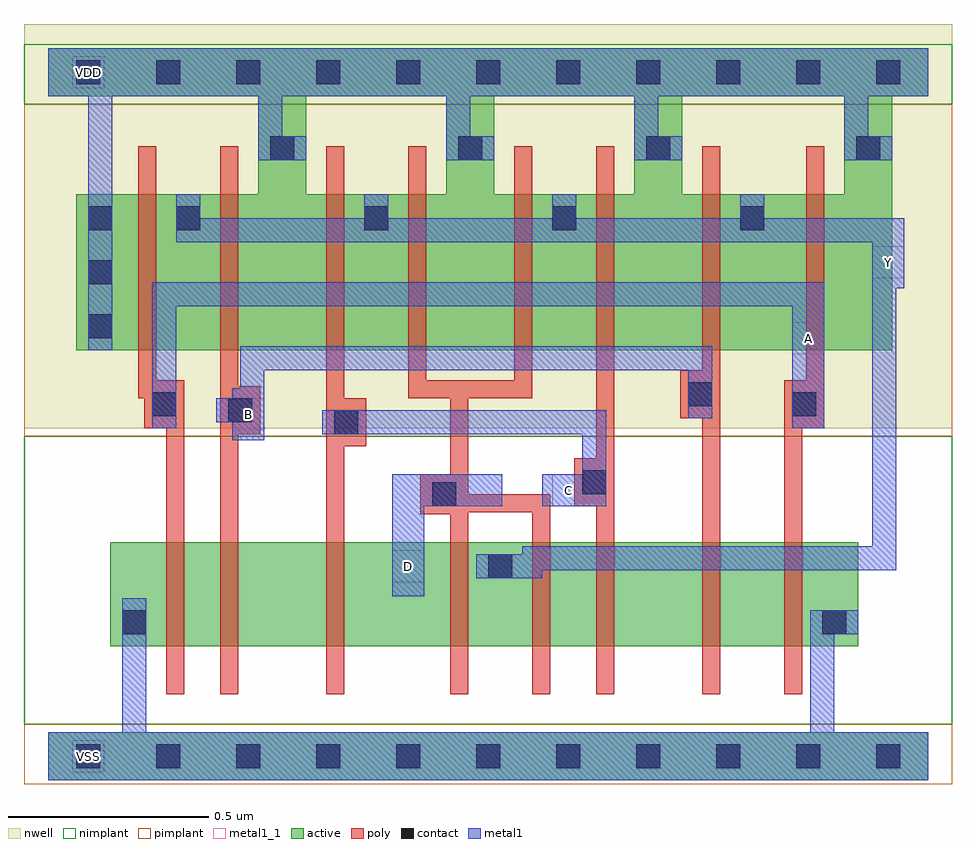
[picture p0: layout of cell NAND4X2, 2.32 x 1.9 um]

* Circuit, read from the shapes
.subckt NAND4X2 A B C D VDD VSS Y
M1 n1 A VSS VSS nfet w=0.26u l=0.045u
M2 n2 B n1 VSS nfet w=0.26u l=0.045u
M3 n3 C n2 VSS nfet w=0.26u l=0.045u
M4 Y D n3 VSS nfet w=0.26u l=0.045u
M5 n4 D Y VSS nfet w=0.26u l=0.045u
M6 n5 C n4 VSS nfet w=0.26u l=0.045u
M7 n6 B n5 VSS nfet w=0.26u l=0.045u
M8 VSS A n6 VSS nfet w=0.26u l=0.045u
M9 Y A VDD VDD pfet w=0.39u l=0.045u m=2
M10 VDD B Y VDD pfet w=0.39u l=0.045u m=2
M11 Y C VDD VDD pfet w=0.39u l=0.045u m=2
M12 VDD D Y VDD pfet w=0.39u l=0.045u m=2
.ends

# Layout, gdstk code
import gdstk
lib = gdstk.Library(unit=1e-6, precision=5e-10)
def R(c, l, rs):  # rectangles x0, y0, x1, y1
    for r in rs: c.add(gdstk.rectangle(r[:2], r[2:], *l))
def A(c, l, x, y, w, h, nx, ny, dx, dy):  # array of equal rectangles
    R(c, l, [(x+i*dx, y+j*dy, x+i*dx+w, y+j*dy+h) for i in range(nx) for j in range(ny)])
def P(c, l, *ps):  # polygons
    for p in ps: c.add(gdstk.Polygon(p, *l))
active = (1, 0)
nwell = (2, 0)
poly = (3, 0)
nimplant = (4, 0)
pimplant = (5, 0)
contact = (6, 0)
metal1 = (7, 0)
metal1_1 = (7, 1)

nand4x2 = lib.new_cell('NAND4X2')
R(nand4x2, active, [(0,-0.06,2.2,0.06), (0.155,0.275,2.025,0.535)])
P(nand4x2, active, [(0,1.77),(2.2,1.77),(2.2,1.65),(2.11,1.65),(2.11,1.015),(0.07,1.015),(0.07,1.405),(0.525,1.405),(0.525,1.65),(0.645,1.65),(0.645,1.405),(0.995,1.405),(0.995,1.65),(1.115,1.65),(1.115,1.405),(1.465,1.405),(1.465,1.65),(1.585,1.65),(1.585,1.405),(1.99,1.405),(1.99,1.65),(0,1.65)])
R(nand4x2, nwell, [(-0.06,0.82,2.26,1.83)])
P(nand4x2, poly, [(0.225,1.525),(0.27,1.525),(0.27,0.94),(0.34,0.94),(0.34,0.155),(0.295,0.155),(0.295,0.82),(0.24,0.82),(0.24,0.895),(0.225,0.895)],
  [(0.43,1.525),(0.475,1.525),(0.475,0.925),(0.53,0.925),(0.53,0.805),(0.475,0.805),(0.475,0.155),(0.43,0.155)],
  [(0.695,1.525),(0.74,1.525),(0.74,0.895),(0.795,0.895),(0.795,0.775),(0.74,0.775),(0.74,0.155),(0.695,0.155)],
  [(0.9,1.525),(0.945,1.525),(0.945,0.94),(1.165,0.94),(1.165,1.525),(1.21,1.525),(1.21,0.895),(1.05,0.895),(1.05,0.655),(1.255,0.655),(1.255,0.155),(1.21,0.155),(1.21,0.61),(1.05,0.61),(1.05,0.155),(1.005,0.155),(1.005,0.605),(0.93,0.605),(0.93,0.705),(1.005,0.705),(1.005,0.895),(0.9,0.895)],
  [(1.37,1.525),(1.415,1.525),(1.415,0.155),(1.37,0.155),(1.37,0.625),(1.315,0.625),(1.315,0.745),(1.37,0.745)],
  [(1.635,1.525),(1.68,1.525),(1.68,0.155),(1.635,0.155),(1.635,0.845),(1.58,0.845),(1.58,0.965),(1.635,0.965)],
  [(1.895,1.525),(1.94,1.525),(1.94,0.82),(1.885,0.82),(1.885,0.155),(1.84,0.155),(1.84,0.94),(1.895,0.94)])
R(nand4x2, nimplant, [(-0.06,0.08,2.26,0.8), (-0.06,1.63,2.26,1.78)])
R(nand4x2, pimplant, [(-0.06,-0.07,2.26,0.08), (-0.06,0.8,2.26,1.63)])
A(nand4x2, contact, 0.07, -0.03, 0.06, 0.06, 11, 2, 0.2, 1.71)
A(nand4x2, contact, 0.1, 1.045, 0.06, 0.06, 1, 3, 0, 0.135)
A(nand4x2, contact, 0.32, 1.315, 0.06, 0.06, 4, 1, 0.47, 0)
A(nand4x2, contact, 0.555, 1.49, 0.06, 0.06, 3, 1, 0.47, 0)
R(nand4x2, contact, [(0.185,0.305,0.245,0.365), (1.935,0.305,1.995,0.365), (1.1,0.445,1.16,0.505), (0.96,0.625,1.02,0.685), (1.335,0.655,1.395,0.715), (0.715,0.805,0.775,0.865), (0.45,0.835,0.51,0.895), (0.26,0.85,0.32,0.91), (1.86,0.85,1.92,0.91), (1.6,0.875,1.66,0.935), (2.02,1.49,2.08,1.55)])
P(nand4x2, metal1, [(0,1.77),(2.2,1.77),(2.2,1.65),(2.05,1.65),(2.05,1.55),(2.11,1.55),(2.11,1.49),(1.99,1.49),(1.99,1.65),(1.525,1.65),(1.525,1.55),(1.585,1.55),(1.585,1.49),(1.465,1.49),(1.465,1.65),(1.055,1.65),(1.055,1.55),(1.115,1.55),(1.115,1.49),(0.995,1.49),(0.995,1.65),(0.585,1.65),(0.585,1.55),(0.645,1.55),(0.645,1.49),(0.525,1.49),(0.525,1.65),(0.16,1.65),(0.16,1.015),(0.1,1.015),(0.1,1.65),(0,1.65)],
  [(0.32,1.405),(0.38,1.405),(0.38,1.345),(0.79,1.345),(0.79,1.405),(0.85,1.405),(0.85,1.345),(1.26,1.345),(1.26,1.405),(1.32,1.405),(1.32,1.345),(1.73,1.345),(1.73,1.405),(1.79,1.405),(1.79,1.345),(2.14,1.345),(2.14,1.17),(2.12,1.17),(2.12,0.465),(1.235,0.465),(1.235,0.445),(1.07,0.445),(1.07,0.505),(1.185,0.505),(1.185,0.525),(2.06,0.525),(2.06,1.285),(0.32,1.285)],
  [(0.26,1.185),(1.94,1.185),(1.94,0.82),(1.86,0.82),(1.86,1.125),(0.32,1.125),(0.32,0.82),(0.26,0.82)],
  [(0.48,1.025),(1.66,1.025),(1.66,0.845),(1.6,0.845),(1.6,0.965),(0.54,0.965),(0.54,0.79),(0.46,0.79),(0.46,0.835),(0.42,0.835),(0.42,0.895),(0.46,0.895),(0.46,0.92),(0.48,0.92)],
  [(0.685,0.865),(1.395,0.865),(1.395,0.625),(1.235,0.625),(1.235,0.705),(1.335,0.705),(1.335,0.805),(0.685,0.805)],
  [(0.86,0.705),(1.135,0.705),(1.135,0.625),(0.94,0.625),(0.94,0.4),(0.86,0.4)],
  [(0.185,0.395),(0.245,0.395),(0.245,0.06),(1.905,0.06),(1.905,0.365),(2.025,0.365),(2.025,0.305),(1.965,0.305),(1.965,0.06),(2.2,0.06),(2.2,-0.06),(0,-0.06),(0,0.06),(0.185,0.06)])
R(nand4x2, metal1_1, [(0.06,-0.04,0.14,0.04), (0.86,0.435,0.94,0.515), (1.26,0.625,1.34,0.705), (0.46,0.815,0.54,0.895), (1.86,1.005,1.94,1.085), (2.06,1.195,2.14,1.275), (0.06,1.67,0.14,1.75)])
nand4x2.add(gdstk.Label('Y', (2.1,1.235), layer=7, texttype=1))
nand4x2.add(gdstk.Label('A', (1.9,1.045), layer=7, texttype=1))
nand4x2.add(gdstk.Label('B', (0.5,0.855), layer=7, texttype=1))
nand4x2.add(gdstk.Label('C', (1.3,0.665), layer=7, texttype=1))
nand4x2.add(gdstk.Label('D', (0.9,0.475), layer=7, texttype=1))
nand4x2.add(gdstk.Label('VDD', (0.1,1.71), layer=7, texttype=1))
nand4x2.add(gdstk.Label('VSS', (0.1,0), layer=7, texttype=1))
nand4x2.add(gdstk.Label('NAND4X2', (0,0), layer=63, texttype=0))

lib.write_gds('NAND4X2.gds')
